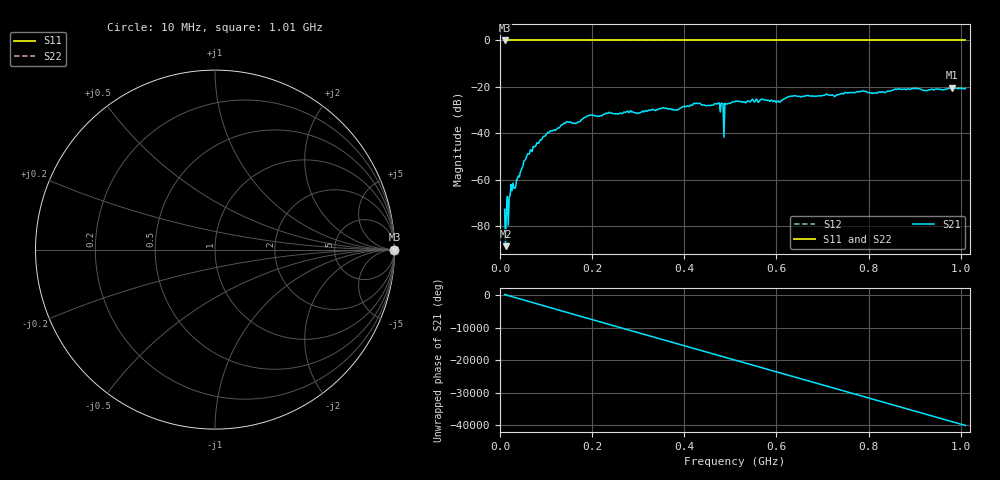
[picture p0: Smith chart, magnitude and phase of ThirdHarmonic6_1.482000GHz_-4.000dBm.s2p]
! 8/16/2025 5:19:21 PM
! C:\ANRITSUVNA\TEMP\TEMP.S2P
! CHANNEL.1
! TR.MEASUREMENT
! RAW.DATA
! RF.CORRECTION.OFF
! AVERAGING.OFF
! IF.BANDWIDTH: 5KHZ
! SWEEPTYPE:  FREQ.SWEEP(Linear)
! Reference Plane Port Info
! PORT:  PORT1  PORT2
! DISTANCE:  0  m  0  m
! TIME:  0  s  0  s
! PHASE.OFFSET:  0  deg.  0  deg.
! LOSS:  0  dB  0  dB
! REF.LOSS:  0  dB  0  dB
! REF.FREQ:  0  Hz  0  Hz
! Power Info
! POWER:  -20  dBm  -20  dBm
! EFF.POWER:  -20  dBm  -20  dBm
! SOURCE.ATTEN:  0  dB  0  dB
! TEST.ATTEN:  0  dB  0  dB
# GHZ S RI R 50.0
! FREQ.GHZ  S11RE  S11IM  S21RE  S21IM  S12RE  S12IM  S22RE  S22IM
!; PortSelection: Port_12
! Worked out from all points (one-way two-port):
!   501 points, 10 MHz to 1.01 GHz, reference 50 ohm
!   highest |S21| = -20.36 dB at 980 MHz (marker M1); lowest = -88.7 dB at 12 MHz (marker M2)
!   lowest |S11| = 0.0 dB at 10 MHz (marker M3)
!   |S11| at or under -10 dB: nowhere
!   |S22| runs from 0.0 to 0.0 dB; largest |S21 - S12| = 1.1
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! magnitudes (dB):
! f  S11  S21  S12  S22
! 10 MHz  0.0  -72.8  0.0  0.0
! 12 MHz  0.0  -88.7  0.0  0.0
! 16 MHz  0.0  -67.3  0.0  0.0
! 24 MHz  0.0  -62.1  0.0  0.0
! 34 MHz  0.0  -63.1  0.0  0.0
! 56 MHz  0.0  -51.1  0.0  0.0
! 76 MHz  0.0  -45.8  0.0  0.0
! 142 MHz  0.0  -35.7  0.0  0.0
! 178 MHz  0.0  -34.0  0.0  0.0
! 344 MHz  0.0  -29.8  0.0  0.0
! 472 MHz  0.0  -27.3  0.0  0.0
! 480 MHz  0.0  -27.0  0.0  0.0
! 482 MHz  0.0  -27.1  0.0  0.0
! 490 MHz  0.0  -27.5  0.0  0.0
! 492 MHz  0.0  -27.4  0.0  0.0
! 510 MHz  0.0  -26.4  0.0  0.0
! 604 MHz  0.0  -26.1  0.0  0.0
! 634 MHz  0.0  -24.0  0.0  0.0
! 678 MHz  0.0  -23.9  0.0  0.0
! 844 MHz  0.0  -21.9  0.0  0.0
! 980 MHz  0.0  -20.4  0.0  0.0
! 1.01 GHz  0.0  -20.7  0.0  0.0
